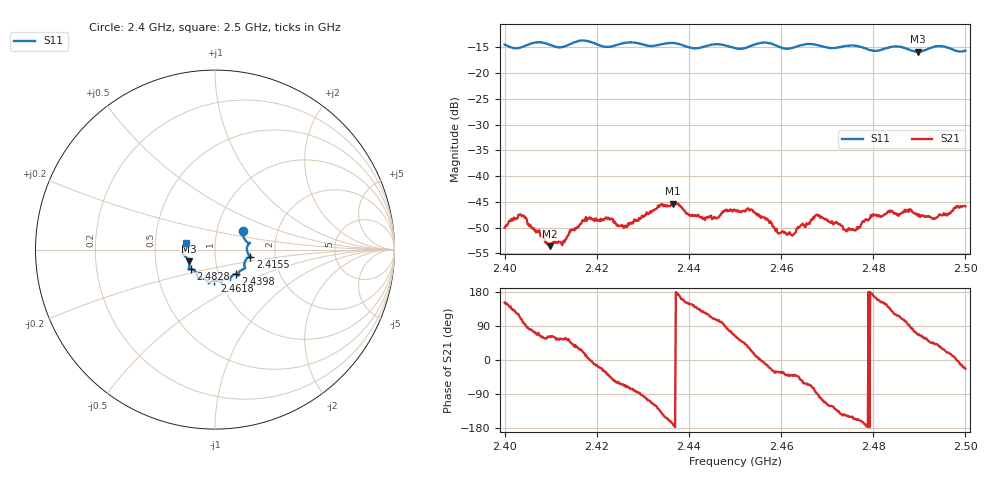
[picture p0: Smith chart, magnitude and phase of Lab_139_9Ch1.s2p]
# Hz S RI R 50
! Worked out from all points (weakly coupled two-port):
!   601 points, 2.4 GHz to 2.5 GHz, reference 50 ohm
!   highest |S21| = -45.33 dB at 2.4365 GHz (marker M1); lowest = -53.6 dB at 2.4098 GHz (marker M2)
!   lowest |S11| = -15.9 dB at 2.4897 GHz (marker M3), VSWR 1.38, Z = 36.9 - j4.86 ohm
!   |S11| at or under -10 dB: start of sweep to end of sweep
!   S12 and S22 are empty: the file has one direction only
!   S11 on the Smith chart (normalised r, x): 2.4 GHz: 1.33, +0.29; 2.4155 GHz: 1.49, -0.12; 2.4398 GHz: 1.21, -0.34; 2.4618 GHz: 0.94, -0.33; 2.4828 GHz: 0.74, -0.17; 2.5 GHz: 0.72, +0.06
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2.4e9  0.1559 0.1063  -0.00278 0.0015  0 0  0 0
2.403667e9  0.1709 0.0497  -0.00124 0.00393  0 0  0 0
2.409833e9  0.1857 0.0283  0.000967 0.00185  0 0  0 0
2.412833e9  0.1795 -0.0119  0.00139 0.00191  0 0  0 0
2.4155e9  0.1974 -0.0394  0.00257 0.00171  0 0  0 0
2.416667e9  0.2022 -0.0427  0.00312 0.00155  0 0  0 0
2.422167e9  0.1668 -0.0656  0.00316 -0.00237  0 0  0 0
2.426167e9  0.1682 -0.102  0.00133 -0.00301  0 0  0 0
2.433333e9  0.1299 -0.1346  -0.00323 -0.00406  0 0  0 0
2.4365e9  0.1316 -0.1448  -0.00531 -0.00105  0 0  0 0
2.439833e9  0.1152 -0.136  -0.00366 0.00223  0 0  0 0
2.4455e9  0.0838 -0.1703  -0.00131 0.0038  0 0  0 0
2.45e9  0.0647 -0.1619  0.00208 0.00418  0 0  0 0
2.453333e9  0.037 -0.1785  0.00421 0.0022  0 0  0 0
2.461833e9  -0.00329 -0.1727  0.00212 -0.00191  0 0  0 0
2.466667e9  -0.0348 -0.1878  0.00124 -0.00362  0 0  0 0
2.475833e9  -0.0949 -0.1584  -0.00273 -0.00124  0 0  0 0
2.482833e9  -0.136 -0.1088  -0.00365 0.00238  0 0  0 0
2.483333e9  -0.1397 -0.1085  -0.00345 0.00302  0 0  0 0
2.489667e9  -0.1474 -0.0642  0.0016 0.0038  0 0  0 0
2.493333e9  -0.1788 -0.0252  0.00291 0.0026  0 0  0 0
2.5e9  -0.1597 0.0392  0.00468 -0.00199  0 0  0 0
